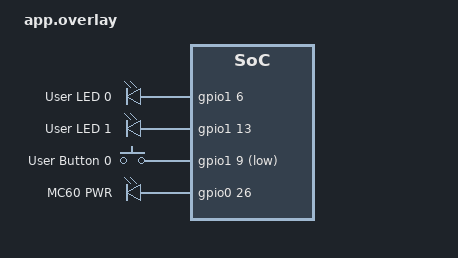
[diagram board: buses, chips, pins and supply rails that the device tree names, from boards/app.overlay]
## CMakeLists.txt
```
cmake_minimum_required(VERSION 3.20.0)
find_package(Zephyr REQUIRED HINTS $ENV{ZEPHYR_BASE})

project(fth_gpio_leds_buttons)

target_sources(app PRIVATE src/main.c)
```

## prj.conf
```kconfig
CONFIG_GPIO=y

CONFIG_CLOCK_CONTROL_NRF_K32SRC_RC=y
CONFIG_CLOCK_CONTROL_NRF_K32SRC_XTAL=n
```

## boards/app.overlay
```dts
/ {
    leds {
        compatible = "gpio-leds";

        user_led0: led_0 {
            gpios = <&gpio1 6 GPIO_ACTIVE_HIGH>;
            label = "User LED 0";
        };

        user_led1: led_1 {
            gpios = <&gpio1 13 GPIO_ACTIVE_HIGH>;
            label = "User LED 1";
        };

    };

    buttons {
        compatible = "gpio-keys";

        user_button0: button_0 {
            gpios = <&gpio1 9 (GPIO_PULL_UP | GPIO_ACTIVE_LOW)>;
            label = "User Button 0";
        };
    };

    gpio_outputs {
        compatible = "gpio-leds";

        mc60_pwr: mc60_pwr_0 {
            gpios = <&gpio0 26 GPIO_ACTIVE_HIGH>;
            label = "MC60 PWR";
        };
    };

    aliases {
        led0 = &user_led0;
        led1 = &user_led1;
        sw0  = &user_button0;
        pwr0 = &mc60_pwr;
    };
};
```

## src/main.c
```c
#include <zephyr/kernel.h>
#include <zephyr/drivers/gpio.h>

/* DeviceTree alias */
#define LED0_NODE DT_ALIAS(led0)
#define LED1_NODE DT_ALIAS(led1)
#define BUTTON_NODE DT_ALIAS(sw0)
#define PWR_NODE    DT_ALIAS(pwr0)

/* GPIO tanımı */
static const struct gpio_dt_spec led0 =
    GPIO_DT_SPEC_GET(LED0_NODE, gpios);

static const struct gpio_dt_spec led1 =
    GPIO_DT_SPEC_GET(LED1_NODE, gpios);

static const struct gpio_dt_spec button =
    GPIO_DT_SPEC_GET(BUTTON_NODE, gpios);

static const struct gpio_dt_spec pwr =
    GPIO_DT_SPEC_GET(PWR_NODE, gpios);

int main(void)
{
        /* GPIO driver hazır mı kontrol et */
        if (!gpio_is_ready_dt(&led0) ||
            !gpio_is_ready_dt(&led1) ||
            !gpio_is_ready_dt(&button))
        {
                return 0;
        }
        /* LED pinini output yap */
        gpio_pin_configure_dt(&led0, GPIO_OUTPUT_INACTIVE);
        gpio_pin_configure_dt(&led1, GPIO_OUTPUT_INACTIVE);
        gpio_pin_configure_dt(&button, GPIO_INPUT);

        gpio_pin_configure_dt(&pwr, GPIO_OUTPUT_INACTIVE);

        /* P0.26 -> 500 ms HIGH */
        gpio_pin_set_dt(&pwr, 1);

        k_msleep(500);

        gpio_pin_set_dt(&pwr, 0);

        while (1)
        {

                /* LED toggle */
                // gpio_pin_toggle_dt(&led0);
                // gpio_pin_toggle_dt(&led1);

                /* 500 ms bekle */
                // k_msleep(500);

                int val = gpio_pin_get_dt(&button);

                gpio_pin_set_dt(&led0, val);

                gpio_pin_set_dt(&led1, !val);

                k_msleep(50);
        }
}
```
